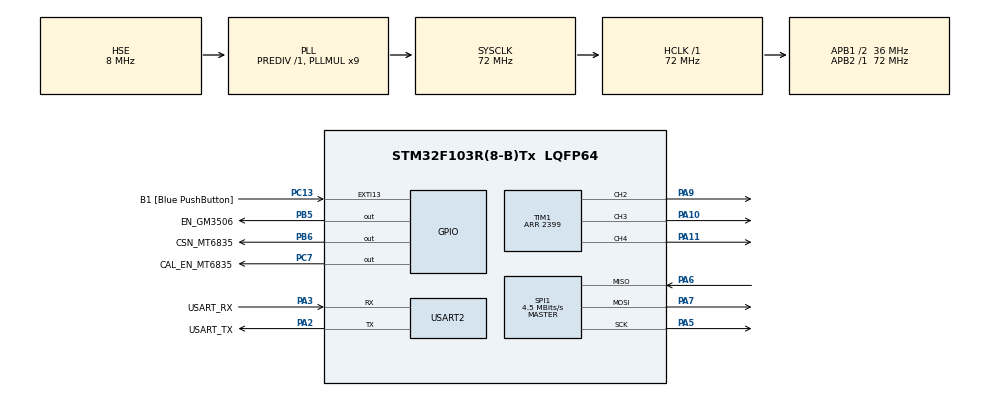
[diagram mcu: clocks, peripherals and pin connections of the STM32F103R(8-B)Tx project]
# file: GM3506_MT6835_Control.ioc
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Mcu.Family=STM32F1
Mcu.Name=STM32F103R(8-B)Tx
Mcu.Package=LQFP64
NVIC.EXTI15_10_IRQn=true\:0\:0\:false\:false\:true\:true\:true\:true
NVIC.PriorityGroup=NVIC_PRIORITYGROUP_4
NVIC.TIM2_IRQn=true\:0\:0\:false\:false\:true\:true\:true\:true
NVIC.TIM3_IRQn=true\:0\:0\:false\:false\:true\:true\:true\:true
PA10.Signal=S_TIM1_CH3
PA11.Signal=S_TIM1_CH4
PA13.GPIO_Label=TMS
PA13.Mode=Serial_Wire
PA13.Signal=SYS_JTMS-SWDIO
PA14.GPIO_Label=TCK
PA14.Mode=Serial_Wire
PA14.Signal=SYS_JTCK-SWCLK
PA2.GPIO_Label=USART_TX
PA2.GPIO_Mode=GPIO_MODE_AF_PP
PA2.GPIO_PuPd=GPIO_NOPULL
PA2.GPIO_Speed=GPIO_SPEED_FREQ_LOW
PA2.Mode=Asynchronous
PA2.Signal=USART2_TX
PA3.GPIO_Label=USART_RX
PA3.GPIO_Mode=GPIO_MODE_AF_PP
PA3.GPIO_PuPd=GPIO_NOPULL
PA3.GPIO_Speed=GPIO_SPEED_FREQ_LOW
PA3.Mode=Asynchronous
PA3.Signal=USART2_RX
PA5.Mode=Full_Duplex_Master
PA5.Signal=SPI1_SCK
PA6.Mode=Full_Duplex_Master
PA6.Signal=SPI1_MISO
PA7.Mode=Full_Duplex_Master
PA7.Signal=SPI1_MOSI
PA9.Signal=S_TIM1_CH2
PB3.GPIO_Label=SWO
PB3.Signal=SYS_JTDO-TRACESWO
PB5.GPIO_Label=EN_GM3506
PB5.Signal=GPIO_Output
PB6.GPIO_Label=CSN_MT6835
PB6.GPIO_Speed=GPIO_SPEED_FREQ_HIGH
PB6.Signal=GPIO_Output
PC13-TAMPER-RTC.GPIO_Label=B1 [Blue PushButton]
PC13-TAMPER-RTC.GPIO_PuPd=GPIO_NOPULL
PC13-TAMPER-RTC.Signal=GPXTI13
PC14-OSC32_IN.Mode=LSE-External-Oscillator
PC14-OSC32_IN.Signal=RCC_OSC32_IN
PC15-OSC32_OUT.Mode=LSE-External-Oscillator
PC15-OSC32_OUT.Signal=RCC_OSC32_OUT
PC7.GPIO_Label=CAL_EN_MT6835
PC7.Signal=GPIO_Output
PD0-OSC_IN.Mode=HSE-External-Clock-Source
PD0-OSC_IN.Signal=RCC_OSC_IN
PD1-OSC_OUT.Mode=HSE-External-Clock-Source
PD1-OSC_OUT.Signal=RCC_OSC_OUT
ProjectManager.HeapSize=0x200
ProjectManager.StackSize=0x400
ProjectManager.TargetToolchain=STM32CubeIDE
RCC.AHBFreq_Value=72000000
RCC.APB1CLKDivider=RCC_HCLK_DIV2
RCC.APB1Freq_Value=36000000
RCC.APB1TimFreq_Value=72000000
RCC.APB2Freq_Value=72000000
RCC.APB2TimFreq_Value=72000000
RCC.HCLKFreq_Value=72000000
RCC.PLLMUL=RCC_PLL_MUL9
RCC.PLLSourceVirtual=RCC_PLLSOURCE_HSE
RCC.RTCClockSelection=RCC_RTCCLKSOURCE_LSE
RCC.SYSCLKFreq_VALUE=72000000
RCC.SYSCLKSource=RCC_SYSCLKSOURCE_PLLCLK
RCC.USBFreq_Value=72000000
SH.S_TIM1_CH2.0=TIM1_CH2,PWM Generation2 CH2
SH.S_TIM1_CH3.0=TIM1_CH3,PWM Generation3 CH3
SH.S_TIM1_CH4.0=TIM1_CH4,PWM Generation4 CH4
SPI1.BaudRatePrescaler=SPI_BAUDRATEPRESCALER_16
SPI1.CLKPhase=SPI_PHASE_2EDGE
SPI1.CLKPolarity=SPI_POLARITY_HIGH
SPI1.CalculateBaudRate=4.5 MBits/s
SPI1.Direction=SPI_DIRECTION_2LINES
SPI1.Mode=SPI_MODE_MASTER
SPI1.VirtualType=VM_MASTER
TIM1.AutoReloadPreload=TIM_AUTORELOAD_PRELOAD_ENABLE
TIM1.AutomaticOutput=TIM_AUTOMATICOUTPUT_ENABLE
TIM1.Channel-PWM\ Generation2\ CH2=TIM_CHANNEL_2
TIM1.Channel-PWM\ Generation3\ CH3=TIM_CHANNEL_3
TIM1.Channel-PWM\ Generation4\ CH4=TIM_CHANNEL_4
TIM1.OffStateRunMode=TIM_OSSR_ENABLE
TIM1.Period=2399
TIM2.Prescaler=71
TIM3.Period=749
TIM3.Prescaler=71
USART2.VirtualMode=VM_ASYNC
VP_TIM2_VS_ClockSourceINT.Mode=Internal
VP_TIM3_VS_ClockSourceINT.Mode=Internal
board=NUCLEO-F103RB

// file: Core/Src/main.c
/* USER CODE BEGIN Header */
/**
  ******************************************************************************
  * @file           : main.c
  * @brief          : Main program body
  ******************************************************************************
  * @attention
  *
  * Copyright (c) 2025 STMicroelectronics.
  * All rights reserved.
  *
  * This software is licensed under terms that can be found in the LICENSE file
  * in the root directory of this software component.
  * If no LICENSE file comes with this software, it is provided AS-IS.
  *
  ******************************************************************************
  */
/* USER CODE END Header */
#include "main.h"

/* USER CODE BEGIN Includes */
#include <stdio.h>
#include "stm32f1xx_hal.h"
#include "mt6835.h"
#include "motor_control.h"
#include "motor_torque_map.h"
// #include "motor_foc.h"
/* USER CODE END Includes */

SPI_HandleTypeDef hspi1;

TIM_HandleTypeDef htim1;
TIM_HandleTypeDef htim2;
TIM_HandleTypeDef htim3;

UART_HandleTypeDef huart2;

/* USER CODE BEGIN PV */
MT6835_Sensor_t sensor;
MotorControl_t 	mc;

#define N_POINTS 720
float angles[N_POINTS];
float torques[N_POINTS];

/* USER CODE END PV */

void SystemClock_Config(void);
static void MX_GPIO_Init(void);
static void MX_SPI1_Init(void);
static void MX_TIM1_Init(void);
static void MX_TIM2_Init(void);
static void MX_TIM3_Init(void);
static void MX_USART2_UART_Init(void);
/* USER CODE BEGIN PFP */
int __io_putchar(int ch);
int MT6835_Initialize(void);
float Get_TIM3_Interrupt_Period(TIM_HandleTypeDef *htim);
/* USER CODE END PFP */

int main(void)
{

  /* MCU Configuration--------------------------------------------------------*/

  /* Reset of all peripherals, Initializes the Flash interface and the Systick. */
  HAL_Init();

  /* Configure the system clock */
  SystemClock_Config();

  /* Initialize all configured peripherals */
  MX_GPIO_Init();
  MX_SPI1_Init();
  MX_TIM1_Init();
  MX_TIM2_Init();
  MX_TIM3_Init();
  MX_USART2_UART_Init();
  /* USER CODE BEGIN 2 */

  HAL_Delay(2000);

  if(MT6835_Initialize() != MT6835_OK) {
      while(1);
  }

#if 1
  printf("Инициализация GM3506\r\n");
  float dt = Get_TIM3_Interrupt_Period(&htim3);

  MotorControl_Init(&mc, 									// Указатель на  MotorControl_t
                    &(MotorHardware_t){                 	// Укзатель на аппартную часть
                        .htim     = &htim1, 				// Указатель на таймер PWM
                        .channelA = TIM_CHANNEL_2,			// Фаза A
                        .channelB = TIM_CHANNEL_3,			// Фаза B
                        .channelC = TIM_CHANNEL_4,			// Фаза C
                        .en_port  = EN_GM3506_GPIO_Port,	// Порт для EN двигателя
                        .en_pin   = EN_GM3506_Pin			// Пин для EN двигателя
                    },
					&sensor,								// Указатель на энкодер двигателя
                    11, 									// Количество пар полюсов двигателя
					2000, 									// Заддержка во время калибровк (в ms)
					1.0f, 									// voltage для калибровк (0...1)
					dt);									// Период прерываний рбновления поля

#endif

#if 1
 MotorControl_SetFocPosition(&mc, MOTOR_CONTROL_PI,
							&(PID_t){
								.kp = 5.f,
								.ki = 5.0f,
								.kd = 0.0f,
								.integral = 0.0f,
								.prev_error = 0.0f
							});
#endif

#if 0
  MotorControl_SetFocTorque(&mc,
		  	  	  	  	  0.3);
#endif

#if 0
  MotorControl_SetOpenLoop(&mc,
		  	  	  	  	  110,
						  5,
						  1.0);
#endif

#if 0
  MotorControl_SetFocTorque(&mc,
		  	  	  	  	  0.0);
#endif

  MotorControl_Enable(&mc); 								// Включаем двигатель
  HAL_TIM_Base_Start_IT(&htim3); 							// запуск таймера с прерываниями

  printf("\t Запуск прерываний(Интервал: %f) \r\n", dt);
  printf("\t ГОТОВО!\r\n\r\n");

#if 0
  MotorControl_GenerateTorqueMap(
          &mc,
          0.0f,
          2.0f * MOTOR_CONTROL_PI,
          N_POINTS,
          100,
          angles,
          torques
      );

  for (int i = 0; i < N_POINTS; ++i) {
          float deg = angles[i] * 180.0f / MOTOR_CONTROL_PI;
          printf("Angle: %f, Torque: %f \r\n", deg, torques[i]);
  }
#endif

  /* USER CODE END 2 */

  /* Infinite loop */
  /* USER CODE BEGIN WHILE */
  while (1)
  {
//	  mc.foc.target_angle += 0.0174532925199433f;
//	  if(mc.foc.target_angle >= MOTOR_CONTROL_TWO_PI) mc.foc.target_angle -= MOTOR_CONTROL_TWO_PI;
//	  mc.foc.pid.integral = 0.0f;

#if 1
	  float angle = MT6835_ReadAngleDegrees(&sensor);
	  printf("angle: %f;", angle);
#endif

#if 1
	  printf(" \t target_angle: %f ", mc.foc.target_angle * 57.2957795130823f);

#endif

#if 1
	  float speed = MT6835_CalculateRotationSpeed(&sensor, 1e6, &htim2);
	  float filter_speed = MovingAverage_FilterSpeed(speed);
	  printf(" \t speed: %f; \t avg_speed: %f", speed, filter_speed);
#endif

#if 1
	  uint8_t status = MT6835_CheckStatus(&sensor);
	  printf(" \t status: %u", status);
#endif

#if 1
	  printf("\r\n");
	  HAL_Delay(99);
#endif
    /* USER CODE END WHILE */

    /* USER CODE BEGIN 3 */
	HAL_Delay(100);
  }
  /* USER CODE END 3 */
}

void SystemClock_Config(void)
{
  RCC_OscInitTypeDef RCC_OscInitStruct = {0};
  RCC_ClkInitTypeDef RCC_ClkInitStruct = {0};

  /** Initializes the RCC Oscillators according to the specified parameters
  * in the RCC_OscInitTypeDef structure.
  */
  RCC_OscInitStruct.OscillatorType = RCC_OSCILLATORTYPE_HSE;
  RCC_OscInitStruct.HSEState = RCC_HSE_BYPASS;
  RCC_OscInitStruct.HSEPredivValue = RCC_HSE_PREDIV_DIV1;
  RCC_OscInitStruct.HSIState = RCC_HSI_ON;
  RCC_OscInitStruct.PLL.PLLState = RCC_PLL_ON;
  RCC_OscInitStruct.PLL.PLLSource = RCC_PLLSOURCE_HSE;
  RCC_OscInitStruct.PLL.PLLMUL = RCC_PLL_MUL9;
  if (HAL_RCC_OscConfig(&RCC_OscInitStruct) != HAL_OK)
  {
    Error_Handler();
  }

  /** Initializes the CPU, AHB and APB buses clocks
  */
  RCC_ClkInitStruct.ClockType = RCC_CLOCKTYPE_HCLK|RCC_CLOCKTYPE_SYSCLK
                              |RCC_CLOCKTYPE_PCLK1|RCC_CLOCKTYPE_PCLK2;
  RCC_ClkInitStruct.SYSCLKSource = RCC_SYSCLKSOURCE_PLLCLK;
  RCC_ClkInitStruct.AHBCLKDivider = RCC_SYSCLK_DIV1;
  RCC_ClkInitStruct.APB1CLKDivider = RCC_HCLK_DIV2;
  RCC_ClkInitStruct.APB2CLKDivider = RCC_HCLK_DIV1;

  if (HAL_RCC_ClockConfig(&RCC_ClkInitStruct, FLASH_LATENCY_2) != HAL_OK)
  {
    Error_Handler();
  }
}

static void MX_SPI1_Init(void)
{

  /* SPI1 parameter configuration*/
  hspi1.Instance = SPI1;
  hspi1.Init.Mode = SPI_MODE_MASTER;
  hspi1.Init.Direction = SPI_DIRECTION_2LINES;
  hspi1.Init.DataSize = SPI_DATASIZE_8BIT;
  hspi1.Init.CLKPolarity = SPI_POLARITY_HIGH;
  hspi1.Init.CLKPhase = SPI_PHASE_2EDGE;
  hspi1.Init.NSS = SPI_NSS_SOFT;
  hspi1.Init.BaudRatePrescaler = SPI_BAUDRATEPRESCALER_16;
  hspi1.Init.FirstBit = SPI_FIRSTBIT_MSB;
  hspi1.Init.TIMode = SPI_TIMODE_DISABLE;
  hspi1.Init.CRCCalculation = SPI_CRCCALCULATION_DISABLE;
  hspi1.Init.CRCPolynomial = 10;
  if (HAL_SPI_Init(&hspi1) != HAL_OK)
  {
    Error_Handler();
  }

}

static void MX_TIM1_Init(void)
{

  TIM_MasterConfigTypeDef sMasterConfig = {0};
  TIM_OC_InitTypeDef sConfigOC = {0};
  TIM_BreakDeadTimeConfigTypeDef sBreakDeadTimeConfig = {0};

  htim1.Instance = TIM1;
  htim1.Init.Prescaler = 0;
  htim1.Init.CounterMode = TIM_COUNTERMODE_UP;
  htim1.Init.Period = 2399;
  htim1.Init.ClockDivision = TIM_CLOCKDIVISION_DIV1;
  htim1.Init.RepetitionCounter = 0;
  htim1.Init.AutoReloadPreload = TIM_AUTORELOAD_PRELOAD_ENABLE;
  if (HAL_TIM_PWM_Init(&htim1) != HAL_OK)
  {
    Error_Handler();
  }
  sMasterConfig.MasterOutputTrigger = TIM_TRGO_RESET;
  sMasterConfig.MasterSlaveMode = TIM_MASTERSLAVEMODE_DISABLE;
  if (HAL_TIMEx_MasterConfigSynchronization(&htim1, &sMasterConfig) != HAL_OK)
  {
    Error_Handler();
  }
  sConfigOC.OCMode = TIM_OCMODE_PWM1;
  sConfigOC.Pulse = 0;
  sConfigOC.OCPolarity = TIM_OCPOLARITY_HIGH;
  sConfigOC.OCNPolarity = TIM_OCNPOLARITY_HIGH;
  sConfigOC.OCFastMode = TIM_OCFAST_DISABLE;
  sConfigOC.OCIdleState = TIM_OCIDLESTATE_RESET;
  sConfigOC.OCNIdleState = TIM_OCNIDLESTATE_RESET;
  if (HAL_TIM_PWM_ConfigChannel(&htim1, &sConfigOC, TIM_CHANNEL_2) != HAL_OK)
  {
    Error_Handler();
  }
  if (HAL_TIM_PWM_ConfigChannel(&htim1, &sConfigOC, TIM_CHANNEL_3) != HAL_OK)
  {
    Error_Handler();
  }
  if (HAL_TIM_PWM_ConfigChannel(&htim1, &sConfigOC, TIM_CHANNEL_4) != HAL_OK)
  {
    Error_Handler();
  }
  sBreakDeadTimeConfig.OffStateRunMode = TIM_OSSR_ENABLE;
  sBreakDeadTimeConfig.OffStateIDLEMode = TIM_OSSI_DISABLE;
  sBreakDeadTimeConfig.LockLevel = TIM_LOCKLEVEL_OFF;
  sBreakDeadTimeConfig.DeadTime = 0;
  sBreakDeadTimeConfig.BreakState = TIM_BREAK_DISABLE;
  sBreakDeadTimeConfig.BreakPolarity = TIM_BREAKPOLARITY_HIGH;
  sBreakDeadTimeConfig.AutomaticOutput = TIM_AUTOMATICOUTPUT_ENABLE;
  if (HAL_TIMEx_ConfigBreakDeadTime(&htim1, &sBreakDeadTimeConfig) != HAL_OK)
  {
    Error_Handler();
  }
  HAL_TIM_MspPostInit(&htim1);

}

static void MX_TIM2_Init(void)
{

  TIM_ClockConfigTypeDef sClockSourceConfig = {0};
  TIM_MasterConfigTypeDef sMasterConfig = {0};

  htim2.Instance = TIM2;
  htim2.Init.Prescaler = 71;
  htim2.Init.CounterMode = TIM_COUNTERMODE_UP;
  htim2.Init.Period = 65535;
  htim2.Init.ClockDivision = TIM_CLOCKDIVISION_DIV1;
  htim2.Init.AutoReloadPreload = TIM_AUTORELOAD_PRELOAD_DISABLE;
  if (HAL_TIM_Base_Init(&htim2) != HAL_OK)
  {
    Error_Handler();
  }
  sClockSourceConfig.ClockSource = TIM_CLOCKSOURCE_INTERNAL;
  if (HAL_TIM_ConfigClockSource(&htim2, &sClockSourceConfig) != HAL_OK)
  {
    Error_Handler();
  }
  sMasterConfig.MasterOutputTrigger = TIM_TRGO_RESET;
  sMasterConfig.MasterSlaveMode = TIM_MASTERSLAVEMODE_DISABLE;
  if (HAL_TIMEx_MasterConfigSynchronization(&htim2, &sMasterConfig) != HAL_OK)
  {
    Error_Handler();
  }

}

static void MX_TIM3_Init(void)
{

  TIM_ClockConfigTypeDef sClockSourceConfig = {0};
  TIM_MasterConfigTypeDef sMasterConfig = {0};

  htim3.Instance = TIM3;
  htim3.Init.Prescaler = 71;
  htim3.Init.CounterMode = TIM_COUNTERMODE_UP;
  htim3.Init.Period = 749;
  htim3.Init.ClockDivision = TIM_CLOCKDIVISION_DIV1;
  htim3.Init.AutoReloadPreload = TIM_AUTORELOAD_PRELOAD_DISABLE;
  if (HAL_TIM_Base_Init(&htim3) != HAL_OK)
  {
    Error_Handler();
  }
  sClockSourceConfig.ClockSource = TIM_CLOCKSOURCE_INTERNAL;
  if (HAL_TIM_ConfigClockSource(&htim3, &sClockSourceConfig) != HAL_OK)
  {
    Error_Handler();
  }
  sMasterConfig.MasterOutputTrigger = TIM_TRGO_RESET;
  sMasterConfig.MasterSlaveMode = TIM_MASTERSLAVEMODE_DISABLE;
  if (HAL_TIMEx_MasterConfigSynchronization(&htim3, &sMasterConfig) != HAL_OK)
  {
    Error_Handler();
  }

}

static void MX_USART2_UART_Init(void)
{

  huart2.Instance = USART2;
  huart2.Init.BaudRate = 115200;
  huart2.Init.WordLength = UART_WORDLENGTH_8B;
  huart2.Init.StopBits = UART_STOPBITS_1;
  huart2.Init.Parity = UART_PARITY_NONE;
  huart2.Init.Mode = UART_MODE_TX_RX;
  huart2.Init.HwFlowCtl = UART_HWCONTROL_NONE;
  huart2.Init.OverSampling = UART_OVERSAMPLING_16;
  if (HAL_UART_Init(&huart2) != HAL_OK)
  {
    Error_Handler();
  }

}

static void MX_GPIO_Init(void)
{
  GPIO_InitTypeDef GPIO_InitStruct = {0};

  /* GPIO Ports Clock Enable */
  __HAL_RCC_GPIOC_CLK_ENABLE();
  __HAL_RCC_GPIOD_CLK_ENABLE();
  __HAL_RCC_GPIOA_CLK_ENABLE();
  __HAL_RCC_GPIOB_CLK_ENABLE();

  /*Configure GPIO pin Output Level */
  HAL_GPIO_WritePin(CAL_EN_MT6835_GPIO_Port, CAL_EN_MT6835_Pin, GPIO_PIN_RESET);

  /*Configure GPIO pin Output Level */
  HAL_GPIO_WritePin(GPIOB, EN_GM3506_Pin|CSN_MT6835_Pin, GPIO_PIN_RESET);

  /*Configure GPIO pin : B1_Pin */
  GPIO_InitStruct.Pin = B1_Pin;
  GPIO_InitStruct.Mode = GPIO_MODE_IT_RISING;
  GPIO_InitStruct.Pull = GPIO_NOPULL;
  HAL_GPIO_Init(B1_GPIO_Port, &GPIO_InitStruct);

  /*Configure GPIO pin : CAL_EN_MT6835_Pin */
  GPIO_InitStruct.Pin = CAL_EN_MT6835_Pin;
  GPIO_InitStruct.Mode = GPIO_MODE_OUTPUT_PP;
  GPIO_InitStruct.Pull = GPIO_NOPULL;
  GPIO_InitStruct.Speed = GPIO_SPEED_FREQ_LOW;
  HAL_GPIO_Init(CAL_EN_MT6835_GPIO_Port, &GPIO_InitStruct);

  /*Configure GPIO pin : EN_GM3506_Pin */
  GPIO_InitStruct.Pin = EN_GM3506_Pin;
  GPIO_InitStruct.Mode = GPIO_MODE_OUTPUT_PP;
  GPIO_InitStruct.Pull = GPIO_NOPULL;
  GPIO_InitStruct.Speed = GPIO_SPEED_FREQ_LOW;
  HAL_GPIO_Init(EN_GM3506_GPIO_Port, &GPIO_InitStruct);

  /*Configure GPIO pin : CSN_MT6835_Pin */
  GPIO_InitStruct.Pin = CSN_MT6835_Pin;
  GPIO_InitStruct.Mode = GPIO_MODE_OUTPUT_PP;
  GPIO_InitStruct.Pull = GPIO_NOPULL;
  GPIO_InitStruct.Speed = GPIO_SPEED_FREQ_HIGH;
  HAL_GPIO_Init(CSN_MT6835_GPIO_Port, &GPIO_InitStruct);

  /* EXTI interrupt init*/
  HAL_NVIC_SetPriority(EXTI15_10_IRQn, 0, 0);
  HAL_NVIC_EnableIRQ(EXTI15_10_IRQn);

}

/* USER CODE BEGIN 4 */
int __io_putchar(int ch)
{
    HAL_UART_Transmit(&huart2, (uint8_t*)&ch, 1, HAL_MAX_DELAY);
    return ch;
}

void HAL_TIM_PeriodElapsedCallback(TIM_HandleTypeDef *htim)
{
#if 1

	if (htim == &htim3) {
		MotorControl_Process(&mc);
		//MotorControl_FOC_Torque_Process(&mc);
		//MotorControl_FOC_Position_Process(&mc);
	  }
#endif

}

void HAL_GPIO_EXTI_Callback(uint16_t GPIO_Pin)
{
#if 1
  if (GPIO_Pin == B1_Pin)
  {
	  MotorControl_Disable(&mc);

  }
#endif
}

int MT6835_Initialize(void) {
    printf("Иницализация датчика mt6845 \r\n");

    HAL_TIM_Base_Start(&htim2);
    printf("\t Таймер TIM2 запущен \r\n");

    if(MT6835_Init(&sensor, &hspi1, CSN_MT6835_GPIO_Port, CSN_MT6835_Pin,
              CAL_EN_MT6835_GPIO_Port, CAL_EN_MT6835_Pin) == MT6835_OK) {
        printf("\t заполнены данные структуры + заддержка 2 сек \r\n");
    } else {
        printf("Ошибка иницилизации mt6835 \r\n");
        return MT6835_ERROR;
    }

    HAL_Delay(2000);
    MT6835_SetZeroTemporary(&sensor);
    MT6835_ReadAngleDegrees(&sensor);
    printf("\t ГОТОВО!\r\n\r\n");

    return MT6835_OK;
}

// Возвращает период прерывания в секундах
float Get_TIM3_Interrupt_Period(TIM_HandleTypeDef *htim) {
    uint32_t tim_clk = HAL_RCC_GetPCLK1Freq();
    if(RCC->CFGR & RCC_CFGR_PPRE1_2) { // Проверка делителя APB1
        tim_clk *= 2;
    }
    return (float)(htim->Instance->ARR + 1) *
           (htim->Instance->PSC + 1) /
           (float)tim_clk;
}

/* USER CODE END 4 */

void Error_Handler(void)
{
  __disable_irq();
  while (1)
  {
  }
}
